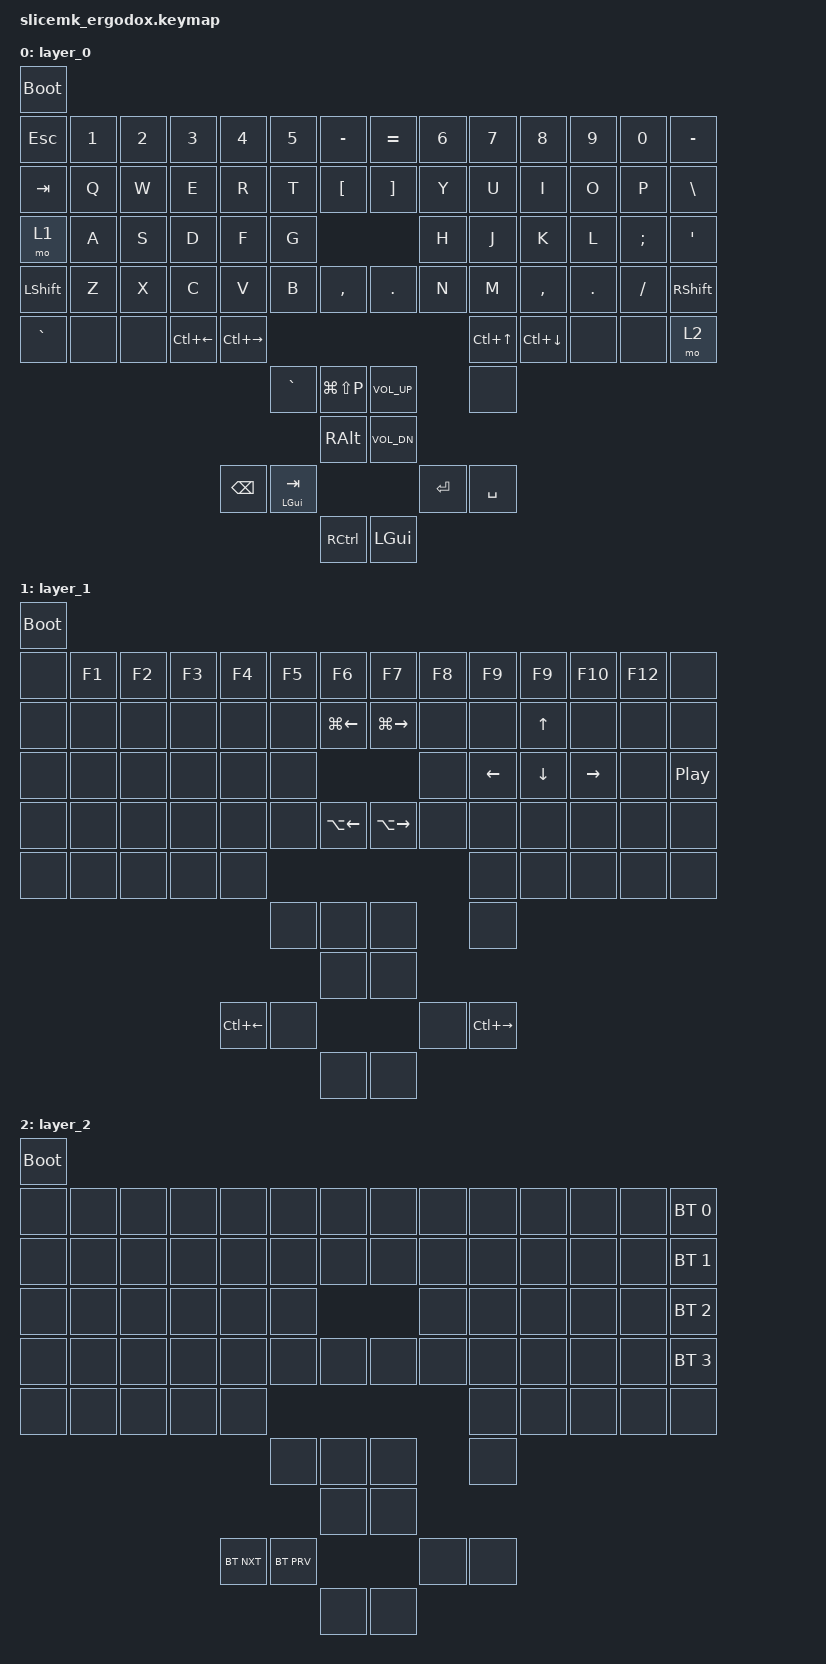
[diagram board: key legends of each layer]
#include <behaviors.dtsi>
#include <dt-bindings/zmk/bt.h>
#include <dt-bindings/zmk/keys.h>
#include <dt-bindings/zmk/outputs.h>

/ {

        keymap {
                compatible = "zmk,keymap";

                layer_0 {
                        bindings = <
    &bootloader
    &kp ESC    &kp N1     &kp N2     &kp N3       &kp N4     &kp N5     &kp MINUS     &kp EQUAL &kp N6     &kp N7       &kp N8       &kp N9     &kp N0     &kp MINUS
    &kp TAB    &kp Q      &kp W      &kp E        &kp R      &kp T      &kp LBKT      &kp RBKT  &kp Y      &kp U        &kp I        &kp O      &kp P      &kp BSLH
    &mo 1      &kp A      &kp S      &kp D        &kp F      &kp G                              &kp H      &kp J        &kp K        &kp L      &kp SEMI   &kp APOS
    &kp LSHFT  &kp Z      &kp X      &kp C        &kp V      &kp B      &kp COMMA     &kp DOT   &kp N      &kp M        &kp COMMA    &kp DOT    &kp FSLH   &kp RSHFT
    &kp GRAVE  &none      &none      &kp LC(LEFT) &kp LC(RIGHT)                                            &kp LC(UP)   &kp LC(DOWN) &none      &none      &mo 2
                                                             &kp GRAVE  &kp LG(LS(P)) &kp C_VOL_UP         &none
                                                                        &kp RALT      &kp C_VOL_DN
                                                  &kp BSPC   &mt LGUI TAB                       &kp ENTER  &kp SPACE
                                                                        &kp RCTRL     &kp LGUI
                        >;
                };

                layer_1 {
                        bindings = <
    &bootloader
    &none      &kp F1     &kp F2     &kp F3     &kp F4     &kp F5     &kp F6              &kp F7           &kp F8     &kp F9     &kp F9     &kp F10    &kp F12    &none
    &none      &none      &none      &none      &none      &none      &kp LG(LEFT)        &kp LG(RIGHT)    &none      &none      &kp UP     &none      &none      &none
    &none      &none      &none      &none      &none      &none                                           &none      &kp LEFT   &kp DOWN   &kp RIGHT  &none      &kp C_PLAY_PAUSE
    &none      &none      &none      &none      &none      &none      &kp LA(LEFT)        &kp LA(RIGHT)    &none      &none      &none      &none      &none      &none
    &none      &none      &none      &none      &none                                                                 &none      &none      &none      &none      &none
                                                           &none      &none               &none            &none
                                                                      &none               &none
                                             &kp LC(LEFT)  &none                                           &none      &kp LC(RIGHT)
                                                                      &none               &none
                        >;
                };

                layer_2 {
                        bindings = <
    &bootloader
    &none      &none      &none      &none      &none      &none      &none      &none      &none      &none      &none      &none      &none      &bt BT_SEL 0
    &none      &none      &none      &none      &none      &none      &none      &none      &none      &none      &none      &none      &none      &bt BT_SEL 1
    &none      &none      &none      &none      &none      &none                            &none      &none      &none      &none      &none      &bt BT_SEL 2
    &none      &none      &none      &none      &none      &none      &none      &none      &none      &none      &none      &none      &none      &bt BT_SEL 3
    &none      &none      &none      &none      &none                                                  &none      &none      &none      &none      &none
                                                           &none      &none      &none      &none
                                                                      &none      &none
                                                &bt BT_NXT &bt BT_PRV                       &none      &none
                                                                      &none      &none
                        >;
                };

        };
};
